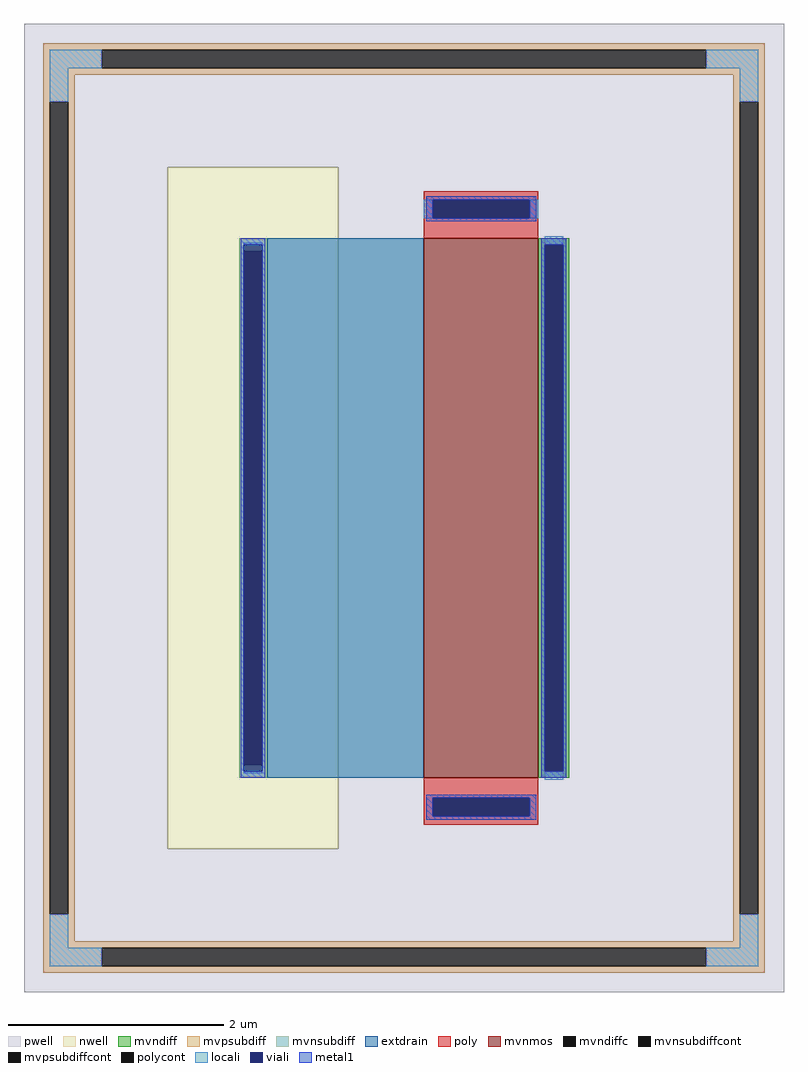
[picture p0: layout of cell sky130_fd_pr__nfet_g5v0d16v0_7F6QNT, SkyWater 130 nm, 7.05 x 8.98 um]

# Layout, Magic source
magic
tech sky130A
magscale 1 2
<< nwell >>
rect -438 -632 -122 632
<< pwell >>
rect -705 632 705 898
rect -705 -632 -438 632
rect -122 -632 705 632
rect -705 -898 705 -632
<< mvnmos >>
rect 37 -500 249 500
<< mvndiff >>
rect 249 488 307 500
rect 249 -488 261 488
rect 295 -488 307 488
rect 249 -500 307 -488
<< mvndiffc >>
rect 261 -488 295 488
<< mvpsubdiff >>
rect -669 850 669 862
rect -669 816 -561 850
rect 561 816 669 850
rect -669 804 669 816
rect -669 754 -611 804
rect -669 -754 -657 754
rect -623 -754 -611 754
rect 611 754 669 804
rect -669 -804 -611 -754
rect 611 -754 623 754
rect 657 -754 669 754
rect 611 -804 669 -754
rect -669 -816 669 -804
rect -669 -850 -561 -816
rect 561 -850 669 -816
rect -669 -862 669 -850
<< mvnsubdiff >>
rect -306 476 -254 500
rect -306 -476 -297 476
rect -263 -476 -254 476
rect -306 -500 -254 -476
<< mvpsubdiffcont >>
rect -561 816 561 850
rect -657 -754 -623 754
rect 623 -754 657 754
rect -561 -850 561 -816
<< mvnsubdiffcont >>
rect -297 -476 -263 476
<< extdrain >>
rect -254 -500 37 500
<< poly >>
rect 37 572 249 588
rect 37 538 53 572
rect 233 538 249 572
rect 37 500 249 538
rect 37 -538 249 -500
rect 37 -572 53 -538
rect 233 -572 249 -538
rect 37 -588 249 -572
<< polycont >>
rect 53 538 233 572
rect 53 -572 233 -538
<< locali >>
rect -657 816 -561 850
rect 561 816 657 850
rect -657 754 -623 816
rect 623 754 657 816
rect 37 538 53 572
rect 233 538 249 572
rect -297 488 -263 492
rect -297 -492 -263 -488
rect 261 488 295 504
rect 261 -504 295 -488
rect -657 -816 -623 -754
rect 623 -816 657 -754
rect -657 -850 -561 -816
rect 561 -850 657 -816
<< viali >>
rect 53 538 233 572
rect -297 476 -263 488
rect -297 -476 -263 476
rect -297 -488 -263 -476
rect 261 -488 295 488
rect 53 -572 233 -538
<< metal1 >>
rect 41 572 245 578
rect 41 538 53 572
rect 233 538 245 572
rect 41 532 245 538
rect -303 488 -257 500
rect -303 -488 -297 488
rect -263 -488 -257 488
rect -303 -500 -257 -488
rect 255 488 301 500
rect 255 -488 261 488
rect 295 -488 301 488
rect 255 -500 301 -488
rect 41 -538 245 -532
rect 41 -572 53 -538
rect 233 -572 245 -538
rect 41 -578 245 -572
<< properties >>
string FIXED_BBOX -640 -833 640 833
string gencell sky130_fd_pr__nfet_g5v0d16v0
string library sky130
string parameters w 5.00 l 1.055 m 1 nf 1 diffcov 100 polycov 100 guard 1 glc 1 grc 1 gtc 1 gbc 1 tbcov 100 rlcov 100 topc 1 botc 1 poverlap 0 doverlap 0 lmin 1.050 wmin 5.00 full_metal 1 viasrc 100 viadrn 100 viagate 100 viagb 0 viagr 0 viagl 0 viagt 0
<< end >>
